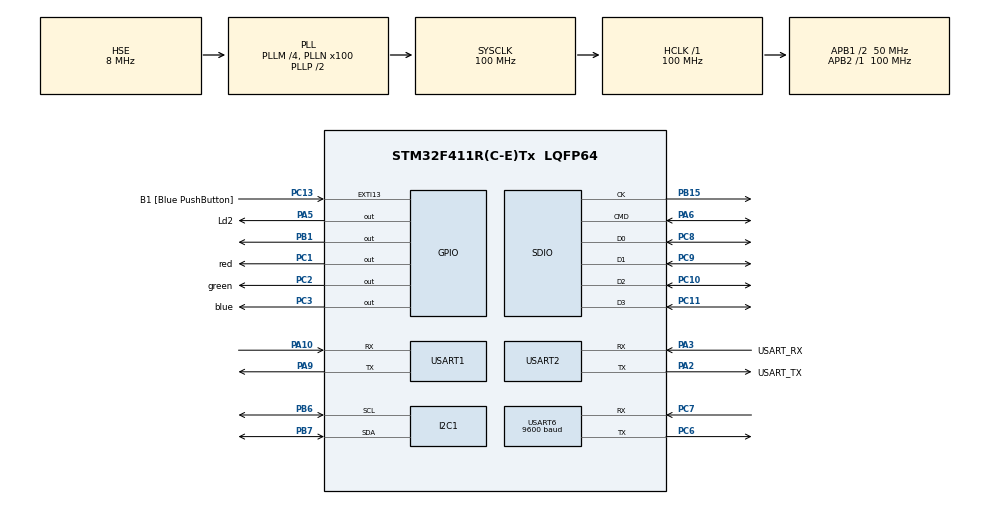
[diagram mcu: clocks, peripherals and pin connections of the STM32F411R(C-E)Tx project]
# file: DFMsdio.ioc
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Dma.Request0=SDIO_RX
Dma.Request1=SDIO_TX
Dma.SDIO_RX.0.Direction=DMA_PERIPH_TO_MEMORY
Dma.SDIO_RX.0.FIFOMode=DMA_FIFOMODE_ENABLE
Dma.SDIO_RX.0.FIFOThreshold=DMA_FIFO_THRESHOLD_FULL
Dma.SDIO_RX.0.Instance=DMA2_Stream3
Dma.SDIO_RX.0.MemBurst=DMA_MBURST_INC4
Dma.SDIO_RX.0.MemDataAlignment=DMA_MDATAALIGN_WORD
Dma.SDIO_RX.0.MemInc=DMA_MINC_ENABLE
Dma.SDIO_RX.0.Mode=DMA_PFCTRL
Dma.SDIO_RX.0.PeriphBurst=DMA_PBURST_INC4
Dma.SDIO_RX.0.PeriphDataAlignment=DMA_PDATAALIGN_WORD
Dma.SDIO_RX.0.PeriphInc=DMA_PINC_DISABLE
Dma.SDIO_RX.0.Priority=DMA_PRIORITY_LOW
Dma.SDIO_TX.1.Direction=DMA_MEMORY_TO_PERIPH
Dma.SDIO_TX.1.FIFOMode=DMA_FIFOMODE_ENABLE
Dma.SDIO_TX.1.FIFOThreshold=DMA_FIFO_THRESHOLD_FULL
Dma.SDIO_TX.1.Instance=DMA2_Stream6
Dma.SDIO_TX.1.MemBurst=DMA_MBURST_INC4
Dma.SDIO_TX.1.MemDataAlignment=DMA_MDATAALIGN_WORD
Dma.SDIO_TX.1.MemInc=DMA_MINC_ENABLE
Dma.SDIO_TX.1.Mode=DMA_PFCTRL
Dma.SDIO_TX.1.PeriphBurst=DMA_PBURST_INC4
Dma.SDIO_TX.1.PeriphDataAlignment=DMA_PDATAALIGN_WORD
Dma.SDIO_TX.1.PeriphInc=DMA_PINC_DISABLE
Dma.SDIO_TX.1.Priority=DMA_PRIORITY_LOW
FATFS.USE_DMA_CODE_SD=1
FATFS._FS_EXFAT=1
FATFS._USE_LFN=1
I2C1.I2C_Mode=I2C_Fast
Mcu.Family=STM32F4
Mcu.Name=STM32F411R(C-E)Tx
Mcu.Package=LQFP64
NVIC.DMA2_Stream3_IRQn=true\:0\:0\:false\:false\:true\:false\:true
NVIC.DMA2_Stream6_IRQn=true\:0\:0\:false\:false\:true\:false\:true
NVIC.PriorityGroup=NVIC_PRIORITYGROUP_0
NVIC.SDIO_IRQn=true\:0\:0\:false\:false\:true\:true\:true
NVIC.TIM3_IRQn=true\:0\:0\:false\:false\:true\:true\:true
NVIC.USART1_IRQn=true\:0\:0\:false\:false\:true\:true\:true
NVIC.USART6_IRQn=true\:0\:0\:false\:false\:true\:true\:true
PA10.Mode=Asynchronous
PA10.Signal=USART1_RX
PA13.GPIO_Label=TMS
PA13.Mode=Serial_Wire
PA13.Signal=SYS_JTMS-SWDIO
PA14.GPIO_Label=TCK
PA14.Mode=Serial_Wire
PA14.Signal=SYS_JTCK-SWCLK
PA2.GPIO_Label=USART_TX
PA2.Mode=Asynchronous
PA2.Signal=USART2_TX
PA3.GPIO_Label=USART_RX
PA3.Mode=Asynchronous
PA3.Signal=USART2_RX
PA5.GPIO_Label=Ld2
PA5.Signal=GPIO_Output
PA6.Mode=SD_4_bits_Wide_bus
PA6.Signal=SDIO_CMD
PA9.Mode=Asynchronous
PA9.Signal=USART1_TX
PB1.Signal=GPIO_Output
PB15.Mode=SD_4_bits_Wide_bus
PB15.Signal=SDIO_CK
PB3.GPIO_Label=SWO
PB3.Signal=SYS_JTDO-SWO
PB6.Mode=I2C
PB6.Signal=I2C1_SCL
PB7.Mode=I2C
PB7.Signal=I2C1_SDA
PC1.GPIO_Label=red
PC1.Signal=GPIO_Output
PC10.Mode=SD_4_bits_Wide_bus
PC10.Signal=SDIO_D2
PC11.Mode=SD_4_bits_Wide_bus
PC11.Signal=SDIO_D3
PC13-ANTI_TAMP.GPIO_Label=B1 [Blue PushButton]
PC13-ANTI_TAMP.GPIO_ModeDefaultEXTI=GPIO_MODE_IT_FALLING
PC13-ANTI_TAMP.Signal=GPXTI13
PC14-OSC32_IN.Mode=LSE-External-Oscillator
PC14-OSC32_IN.Signal=RCC_OSC32_IN
PC15-OSC32_OUT.Mode=LSE-External-Oscillator
PC15-OSC32_OUT.Signal=RCC_OSC32_OUT
PC2.GPIO_Label=green
PC2.Signal=GPIO_Output
PC3.GPIO_Label=blue
PC3.Signal=GPIO_Output
PC6.Mode=Asynchronous
PC6.Signal=USART6_TX
PC7.Mode=Asynchronous
PC7.Signal=USART6_RX
PC8.Mode=SD_4_bits_Wide_bus
PC8.Signal=SDIO_D0
PC9.Mode=SD_4_bits_Wide_bus
PC9.Signal=SDIO_D1
PH0\ -\ OSC_IN.Mode=HSE-External-Clock-Source
PH0\ -\ OSC_IN.Signal=RCC_OSC_IN
PH1\ -\ OSC_OUT.Mode=HSE-External-Clock-Source
PH1\ -\ OSC_OUT.Signal=RCC_OSC_OUT
ProjectManager.HeapSize=0x200
ProjectManager.StackSize=0x400
ProjectManager.TargetToolchain=STM32CubeIDE
RCC.48MHZClocksFreq_Value=40000000
RCC.AHBFreq_Value=100000000
RCC.APB1CLKDivider=RCC_HCLK_DIV2
RCC.APB1Freq_Value=50000000
RCC.APB1TimFreq_Value=100000000
RCC.APB2Freq_Value=100000000
RCC.APB2TimFreq_Value=100000000
RCC.CortexFreq_Value=100000000
RCC.FLatency-AdvancedSettings=FLASH_LATENCY_3
RCC.HCLKFreq_Value=100000000
RCC.HSE_VALUE=8000000
RCC.HSI_VALUE=16000000
RCC.PLLM=4
RCC.PLLN=100
RCC.PLLQ=5
RCC.PLLSourceVirtual=RCC_PLLSOURCE_HSE
RCC.SYSCLKFreq_VALUE=100000000
RCC.SYSCLKSource=RCC_SYSCLKSOURCE_PLLCLK
RCC.VCOOutputFreq_Value=200000000
SDIO.ClockDiv=0
USART1.VirtualMode=VM_ASYNC
USART2.VirtualMode=VM_ASYNC
USART6.BaudRate=9600
USART6.VirtualMode=VM_ASYNC
VP_FATFS_VS_SDIO.Mode=SDIO
VP_TIM3_VS_ClockSourceINT.Mode=Internal
board=NUCLEO-F411RE

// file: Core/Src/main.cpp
/* USER CODE BEGIN Header */
/**
  ******************************************************************************
  * @file           : main.c
  * @brief          : Main program body
  ******************************************************************************
  * @attention
  *
  * <h2><center>&copy; Copyright (c) 2021 STMicroelectronics.
  * All rights reserved.</center></h2>
  *
  * This software component is licensed by ST under Ultimate Liberty license
  * SLA0044, the "License"; You may not use this file except in compliance with
  * the License. You may obtain a copy of the License at:
  *                             www.st.com/SLA0044
  *
  ******************************************************************************
  */
/* USER CODE END Header */
#include "main.h"
#include "dma.h"
#include "fatfs.h"
#include "i2c.h"
#include "sdio.h"
#include "tim.h"
#include "usart.h"
#include "gpio.h"

/* USER CODE BEGIN Includes */
#include "ArduinoWrapper.h"
/* USER CODE END Includes */

/* USER CODE BEGIN PD */
FATFS myFatFS;
FATFS *fs;
FIL myFile;
UINT myBytes;
FRESULT fr;
FILINFO fno;

DWORD fre_clust, fre_sect, tot_sect;
/* USER CODE END PD */

/* USER CODE BEGIN PV */
bool flag = false;
int i;

char Filename[] = "Log00000.CSV";
/* USER CODE END PV */

void SystemClock_Config(void);

/* USER CODE BEGIN 0 */
void HAL_TIM_PeriodElapsedCallback(TIM_HandleTypeDef *htim)
{
    if(htim->Instance == TIM3)
    {
    	i++;
        HAL_GPIO_TogglePin(GPIOC, red_Pin);
        HAL_GPIO_TogglePin(GPIOC, green_Pin);
        //printf("time : ");
        //printf("%ld\r\n", millis());
        //printf("GPIO_PIN_RED = %d, SysTick = %ld\r\n", HAL_GPIO_ReadPin(GPIOC, red_Pin), HAL_GetTick());
        //printf("GPIO_PIN_Green = %d, SysTick = %ld\r\n", HAL_GPIO_ReadPin(GPIOC, green_Pin), HAL_GetTick());
    }
    if (i > 5) { flag = true; i=0; }
}
/* USER CODE END 0 */

int main(void)
{

  /* MCU Configuration--------------------------------------------------------*/

  /* Reset of all peripherals, Initializes the Flash interface and the Systick. */
  HAL_Init();

  /* Configure the system clock */
  SystemClock_Config();

  /* Initialize all configured peripherals */
  MX_GPIO_Init();
  MX_USART2_UART_Init();
  MX_SDIO_SD_Init();
  MX_USART1_UART_Init();
  MX_USART6_UART_Init();
  MX_FATFS_Init();
  MX_DMA_Init();
  MX_I2C1_Init();
  MX_TIM3_Init();
  /* USER CODE BEGIN 2 */
  HAL_TIM_Base_Start_IT(&htim3);

   delay(100);
   if(f_mount(&myFatFS, SDPath, 1) == FR_OK)
   {
 	  printf("SD Mount 'Success'\r\n");
 	  fr = f_getfree("", &fre_clust, &fs);
 	    /* Get total sectors and free sectors */
 	    tot_sect = (fs->n_fatent - 2) * fs->csize;
 	    fre_sect = fre_clust * fs->csize;
 	    /* Print the free space (assuming 512 bytes/sector) */
 	    printf("SD card stauts : %lu MB total drive space.\r\n", (tot_sect / 2)/997);
 	    printf("Remaining space : %lu MB available.\r\n", (fre_sect / 2)/997);

 //	    if (((fre_sect/2)/997) < 10)
 //	    {
 //			용량 부족시 삭제하는 루틴 만들기
 //	    }

 	  for (unsigned int k = 0; k < 100000; k++)
 	  {
 		Filename[3] = k / 10000 + '0'; //만자리
 		Filename[4] = ((k % 10000) / 1000) + '0';//천자리
 		Filename[5] = ((k % 1000) / 100) + '0';//백자리
 		Filename[6] = ((k % 100) / 10) + '0'; //십자리
 		Filename[7] = k % 10 + '0'; //일자리
 		delay(1);
 		fr = f_open(&myFile, Filename, FA_WRITE | FA_CREATE_NEW);
 		if (fr == FR_OK)
 		{
 			break;
 		}
 	  }
 	  printf("Logging to : ");
 	  printf("%s\r\n", Filename);
 	  f_printf(&myFile, "%s", "First Boot");
 	  f_close(&myFile);
   }
   else { printf("SD Mount 'Failed'\r\n"); NVIC_SystemReset(); }
  /* USER CODE END 2 */

  /* Infinite loop */
  /* USER CODE BEGIN WHILE */
  while (1)
  {
	  if (flag == true) {
	 	      //printf("flag : ");
	 	      //printf("%d\r\n", flag);
	 		  HAL_GPIO_TogglePin(Ld2_GPIO_Port, Ld2_Pin);
	 		  flag = false;
	  }
    /* USER CODE END WHILE */

  }
}

void SystemClock_Config(void)
{
  RCC_OscInitTypeDef RCC_OscInitStruct = {0};
  RCC_ClkInitTypeDef RCC_ClkInitStruct = {0};

  /** Configure the main internal regulator output voltage
  */
  __HAL_RCC_PWR_CLK_ENABLE();
  __HAL_PWR_VOLTAGESCALING_CONFIG(PWR_REGULATOR_VOLTAGE_SCALE1);
  /** Initializes the RCC Oscillators according to the specified parameters
  * in the RCC_OscInitTypeDef structure.
  */
  RCC_OscInitStruct.OscillatorType = RCC_OSCILLATORTYPE_HSE;
  RCC_OscInitStruct.HSEState = RCC_HSE_BYPASS;
  RCC_OscInitStruct.PLL.PLLState = RCC_PLL_ON;
  RCC_OscInitStruct.PLL.PLLSource = RCC_PLLSOURCE_HSE;
  RCC_OscInitStruct.PLL.PLLM = 4;
  RCC_OscInitStruct.PLL.PLLN = 100;
  RCC_OscInitStruct.PLL.PLLP = RCC_PLLP_DIV2;
  RCC_OscInitStruct.PLL.PLLQ = 5;
  if (HAL_RCC_OscConfig(&RCC_OscInitStruct) != HAL_OK)
  {
    Error_Handler();
  }
  /** Initializes the CPU, AHB and APB buses clocks
  */
  RCC_ClkInitStruct.ClockType = RCC_CLOCKTYPE_HCLK|RCC_CLOCKTYPE_SYSCLK
                              |RCC_CLOCKTYPE_PCLK1|RCC_CLOCKTYPE_PCLK2;
  RCC_ClkInitStruct.SYSCLKSource = RCC_SYSCLKSOURCE_PLLCLK;
  RCC_ClkInitStruct.AHBCLKDivider = RCC_SYSCLK_DIV1;
  RCC_ClkInitStruct.APB1CLKDivider = RCC_HCLK_DIV2;
  RCC_ClkInitStruct.APB2CLKDivider = RCC_HCLK_DIV1;

  if (HAL_RCC_ClockConfig(&RCC_ClkInitStruct, FLASH_LATENCY_3) != HAL_OK)
  {
    Error_Handler();
  }
}

void Error_Handler(void)
{
  __disable_irq();
  while (1)
  {
  }
}

/************************ (C) COPYRIGHT STMicroelectronics *****END OF FILE****/
